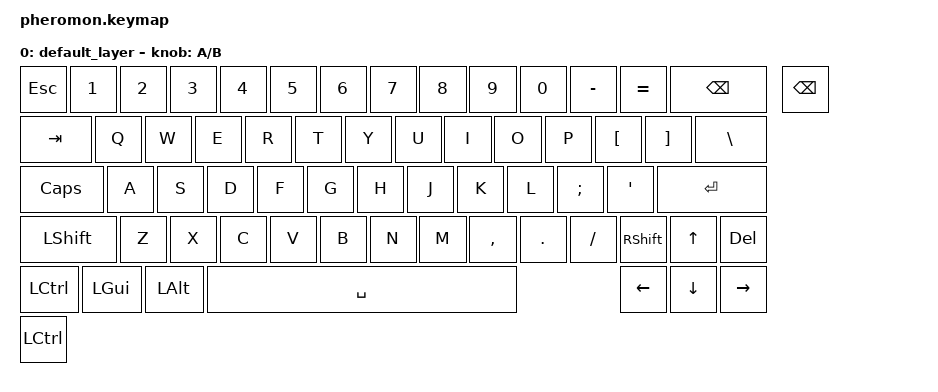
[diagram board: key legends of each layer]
#include <behaviors.dtsi>
#include <dt-bindings/zmk/keys.h>
#include <dt-bindings/zmk/bt.h>
#include <dt-bindings/zmk/outputs.h>
/ {
    keymap {
        compatible = "zmk,keymap";

        default_layer {
            bindings = <
&kp ESC    &kp N1    &kp N2    &kp N3  &kp N4  &kp N5  &kp N6     &kp N7  &kp N8     &kp N9   &kp N0     &kp MINUS  &kp EQUAL  &kp BSPC  &kp BSPC
&kp TAB    &kp Q     &kp W     &kp E   &kp R   &kp T   &kp Y      &kp U   &kp I      &kp O    &kp P      &kp LBKT   &kp RBKT   &kp BSLH
&kp CAPS   &kp A     &kp S     &kp D   &kp F   &kp G   &kp H      &kp J   &kp K      &kp L    &kp SEMI   &kp APOS   &kp ENTER
&kp LSHFT  &kp Z     &kp X     &kp C   &kp V   &kp B   &kp N      &kp M   &kp COMMA  &kp DOT  &kp SLASH  &kp RSHFT  &kp UP     &kp DEL
&kp LCTRL &kp LCTRL  &kp LGUI  &kp LALT                          &kp SPACE                                         &kp LEFT   &kp DOWN   &kp RIGHT
            >;

            sensor-bindings = <&inc_dec_kp A B>;
        };
    };
};
